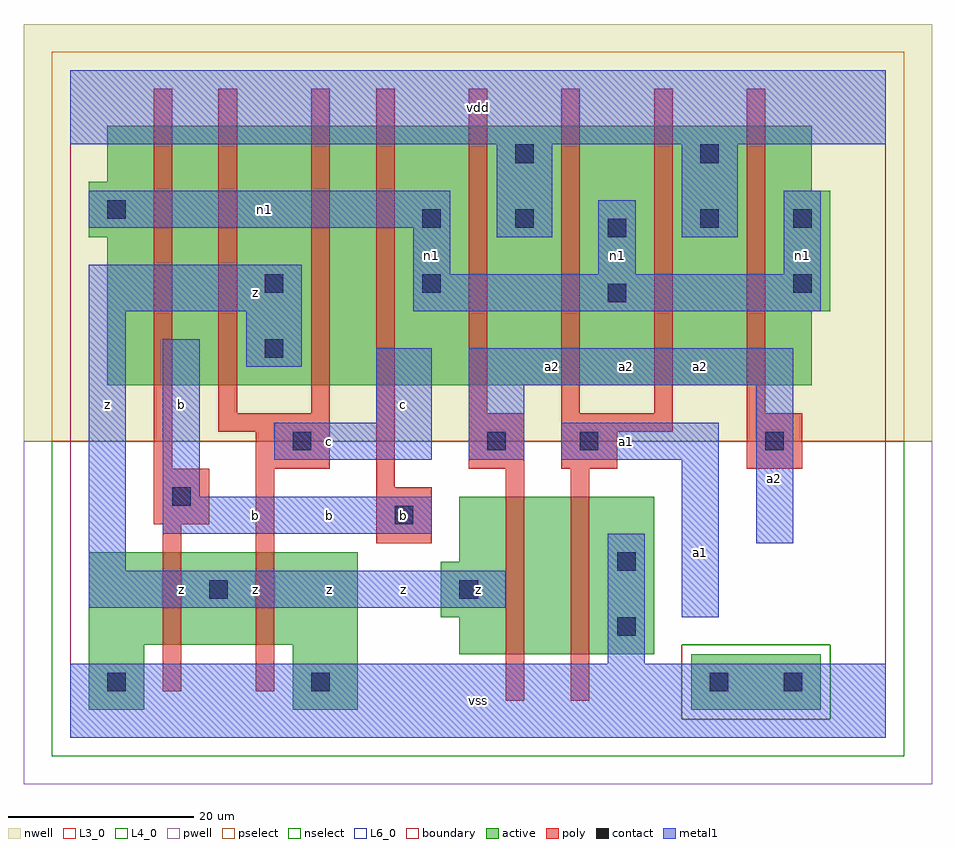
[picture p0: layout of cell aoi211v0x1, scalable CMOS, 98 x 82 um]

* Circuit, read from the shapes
.subckt aoi211v0x1 a1 a2 b c n1 vdd vss z
M1 z b vss vss nfet w=10u l=2u
M2 vss c z vss nfet w=10u l=2u
M3 n2 a2 z vss nfet w=17u l=2u
M4 vss a1 n2 vss nfet w=17u l=2u
M5 n3 b n1 n4 pfet w=28u l=2u
M6 z c n3 n4 pfet w=28u l=2u
M7 n5 c z n4 pfet w=28u l=2u
M8 n1 b n5 n4 pfet w=28u l=2u
M9 vdd a2 n1 n4 pfet w=28u l=2u m=2
M10 n1 a1 vdd n4 pfet w=28u l=2u m=2
.ends

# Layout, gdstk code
import gdstk
lib = gdstk.Library(unit=1e-6, precision=1e-09)
def R(c, l, rs):  # rectangles x0, y0, x1, y1
    for r in rs: c.add(gdstk.rectangle(r[:2], r[2:], *l))
def A(c, l, x, y, w, h, nx, ny, dx, dy):  # array of equal rectangles
    R(c, l, [(x+i*dx, y+j*dy, x+i*dx+w, y+j*dy+h) for i in range(nx) for j in range(ny)])
L3_0 = (3, 0)
L4_0 = (4, 0)
L6_0 = (6, 0)
contact = (25, 0)
pwell = (41, 0)
nwell = (42, 0)
active = (43, 0)
pselect = (44, 0)
nselect = (45, 0)
poly = (46, 0)
metal1 = (49, 0)
boundary = (63, 0)

aoi211v0x1 = lib.new_cell('aoi211v0x1')
R(aoi211v0x1, L3_0, [(2,3,8,10), (24,3,31,10), (42,9,63,13), (2,10,31,20), (40,13,63,19), (42,19,63,26)])
R(aoi211v0x1, L4_0, [(4,38,80,46), (4,46,82,54), (2,54,82,59), (2,59,80,60), (4,60,80,66)])
R(aoi211v0x1, L6_0, [(67,3,81,9)])
R(aoi211v0x1, contact, [(4,5,6,7), (26,5,28,7), (69,5,71,7), (77,5,79,7), (59,11,61,13), (15,15,17,17), (42,15,44,17), (59,18,61,20), (35,23,37,25), (11,25,13,27), (24,31,26,33), (45,31,47,33), (55,31,57,33), (75,31,77,33), (21,41,23,43), (58,47,60,49), (21,48,23,50), (38,48,40,50), (78,48,80,50), (58,54,60,56), (38,55,40,57), (48,55,50,57), (68,55,70,57), (78,55,80,57), (4,56,6,58), (48,62,50,64), (68,62,70,64)])
R(aoi211v0x1, pwell, [(-5,-5,93,32)])
R(aoi211v0x1, nwell, [(-5,32,93,77)])
R(aoi211v0x1, active, [(2,3,8,10), (24,3,31,10), (67,3,81,9), (42,9,63,13), (2,10,31,20), (40,13,63,19), (42,19,63,26), (4,38,80,46), (4,46,82,54), (2,54,82,59), (2,59,80,60), (4,60,80,66)])
R(aoi211v0x1, pselect, [(66,2,82,10), (-2,32,90,74)])
R(aoi211v0x1, nselect, [(-2,-2,90,2), (-2,2,66,10), (82,2,90,10), (-2,10,90,32)])
A(aoi211v0x1, poly, 43, 35, 2, 35, 4, 1, 10, 0)
R(aoi211v0x1, poly, [(47,4,49,29), (54,4,56,29), (10,5,12,23), (20,5,22,29), (33,21,39,27), (9,23,15,29), (33,27,35,70), (9,29,11,70), (20,29,28,33), (43,29,49,35), (53,29,59,33), (73,29,79,35), (16,33,28,35), (53,33,65,35), (16,35,18,70), (26,35,28,70)])
R(aoi211v0x1, metal1, [(0,0,88,8), (58,8,62,22), (66,13,70,30), (2,14,47,18), (2,18,6,46), (74,21,78,38), (10,22,39,26), (10,26,14,43), (22,30,39,34), (43,30,49,38), (53,30,70,34), (33,34,39,42), (43,38,78,42), (19,40,25,46), (2,46,25,51), (37,46,81,50), (37,50,41,55), (57,50,61,58), (77,50,81,59), (46,54,52,64), (66,54,72,64), (2,55,41,59), (0,64,88,72)])
R(aoi211v0x1, boundary, [(0,0,88,72)])
aoi211v0x1.add(gdstk.Label('n1', (39,52), layer=49, texttype=0))
aoi211v0x1.add(gdstk.Label('n1', (21,57), layer=49, texttype=0))
aoi211v0x1.add(gdstk.Label('n1', (79,52), layer=49, texttype=0))
aoi211v0x1.add(gdstk.Label('n1', (59,52), layer=49, texttype=0))
aoi211v0x1.add(gdstk.Label('z', (12,16), layer=49, texttype=0))
aoi211v0x1.add(gdstk.Label('b', (12,36), layer=49, texttype=0))
aoi211v0x1.add(gdstk.Label('z', (4,36), layer=49, texttype=0))
aoi211v0x1.add(gdstk.Label('z', (28,16), layer=49, texttype=0))
aoi211v0x1.add(gdstk.Label('z', (36,16), layer=49, texttype=0))
aoi211v0x1.add(gdstk.Label('z', (20,16), layer=49, texttype=0))
aoi211v0x1.add(gdstk.Label('b', (20,24), layer=49, texttype=0))
aoi211v0x1.add(gdstk.Label('b', (36,24), layer=49, texttype=0))
aoi211v0x1.add(gdstk.Label('c', (28,32), layer=49, texttype=0))
aoi211v0x1.add(gdstk.Label('b', (28,24), layer=49, texttype=0))
aoi211v0x1.add(gdstk.Label('c', (36,36), layer=49, texttype=0))
aoi211v0x1.add(gdstk.Label('z', (20,48), layer=49, texttype=0))
aoi211v0x1.add(gdstk.Label('vss', (44,4), layer=49, texttype=0))
aoi211v0x1.add(gdstk.Label('z', (44,16), layer=49, texttype=0))
aoi211v0x1.add(gdstk.Label('a1', (60,32), layer=49, texttype=0))
aoi211v0x1.add(gdstk.Label('a2', (52,40), layer=49, texttype=0))
aoi211v0x1.add(gdstk.Label('a2', (60,40), layer=49, texttype=0))
aoi211v0x1.add(gdstk.Label('vdd', (44,68), layer=49, texttype=0))
aoi211v0x1.add(gdstk.Label('a1', (68,20), layer=49, texttype=0))
aoi211v0x1.add(gdstk.Label('a2', (76,28), layer=49, texttype=0))
aoi211v0x1.add(gdstk.Label('a2', (68,40), layer=49, texttype=0))

lib.write_gds('aoi211v0x1.gds')
